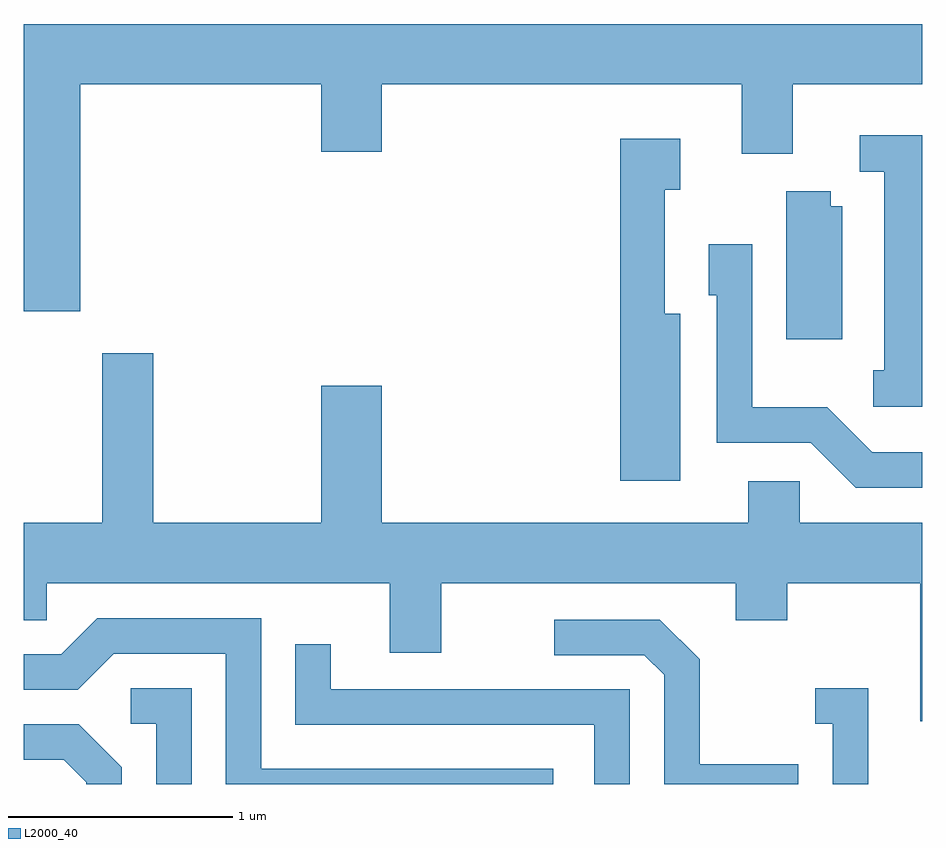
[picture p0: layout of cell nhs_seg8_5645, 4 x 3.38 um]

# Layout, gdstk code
import gdstk
lib = gdstk.Library(unit=1e-6, precision=1e-09)
def P(c, l, *ps):  # polygons
    for p in ps: c.add(gdstk.Polygon(p, *l))
L2000_40 = (2000, 40)

nhs_seg8_5645 = lib.new_cell('nhs_seg8_5645')
P(nhs_seg8_5645, L2000_40, [(353.864,1907.456),(354.936,1907.456),(354.936,1907.156),(355.204,1907.156),(355.204,1907.456),(356.806,1907.456),(356.806,1907.146),(357.034,1907.146),(357.034,1907.456),(357.611,1907.456),(357.611,1907.724),(353.611,1907.724),(353.611,1906.446),(353.864,1906.446)],
  [(357.611,1907.229),(357.333,1907.229),(357.333,1907.066),(357.441,1907.066),(357.441,1906.184),(357.393,1906.184),(357.393,1906.021),(357.611,1906.021)],
  [(356.534,1906.434),(356.464,1906.434),(356.464,1906.986),(356.534,1906.986),(356.534,1907.214),(356.266,1907.214),(356.266,1905.691),(356.534,1905.691)],
  [(357.254,1906.914),(357.204,1906.914),(357.204,1906.979),(357.006,1906.979),(357.006,1906.321),(357.254,1906.321)],
  [(357.611,1905.819),(357.387,1905.819),(357.187,1906.019),(356.854,1906.019),(356.854,1906.744),(356.661,1906.744),(356.661,1906.516),(356.696,1906.516),(356.696,1905.861),(357.114,1905.861),(357.314,1905.661),(357.611,1905.661)],
  [(357.611,1905.504),(357.064,1905.504),(357.064,1905.689),(356.836,1905.689),(356.836,1905.504),(355.204,1905.504),(355.204,1906.114),(354.936,1906.114),(354.936,1905.504),(354.189,1905.504),(354.189,1906.259),(353.961,1906.259),(353.961,1905.504),(353.611,1905.504),(353.611,1905.071),(353.714,1905.071),(353.714,1905.236),(355.241,1905.236),(355.241,1904.926),(355.469,1904.926),(355.469,1905.236),(356.781,1905.236),(356.781,1905.071),(357.009,1905.071),(357.009,1905.236),(357.601,1905.236),(357.601,1904.621),(357.611,1904.621)],
  [(355.969,1904.409),(354.669,1904.409),(354.669,1905.079),(353.939,1905.079),(353.779,1904.919),(353.611,1904.919),(353.611,1904.761),(353.852,1904.761),(354.012,1904.921),(354.511,1904.921),(354.511,1904.342),(355.969,1904.342)],
  [(357.059,1904.429),(356.619,1904.429),(356.619,1904.897),(356.442,1905.074),(355.973,1905.074),(355.973,1904.916),(356.374,1904.916),(356.461,1904.829),(356.461,1904.342),(357.059,1904.342)],
  [(356.309,1904.764),(354.979,1904.764),(354.979,1904.963),(354.821,1904.963),(354.821,1904.606),(356.151,1904.606),(356.151,1904.342),(356.309,1904.342)],
  [(354.359,1904.769),(354.088,1904.769),(354.088,1904.611),(354.201,1904.611),(354.201,1904.342),(354.359,1904.342)],
  [(357.369,1904.769),(357.133,1904.769),(357.133,1904.611),(357.211,1904.611),(357.211,1904.342),(357.369,1904.342)],
  [(354.049,1904.417),(353.857,1904.609),(353.611,1904.609),(353.611,1904.451),(353.789,1904.451),(353.891,1904.349),(353.891,1904.342),(354.049,1904.342)])

lib.write_gds('nhs_seg8_5645.gds')
